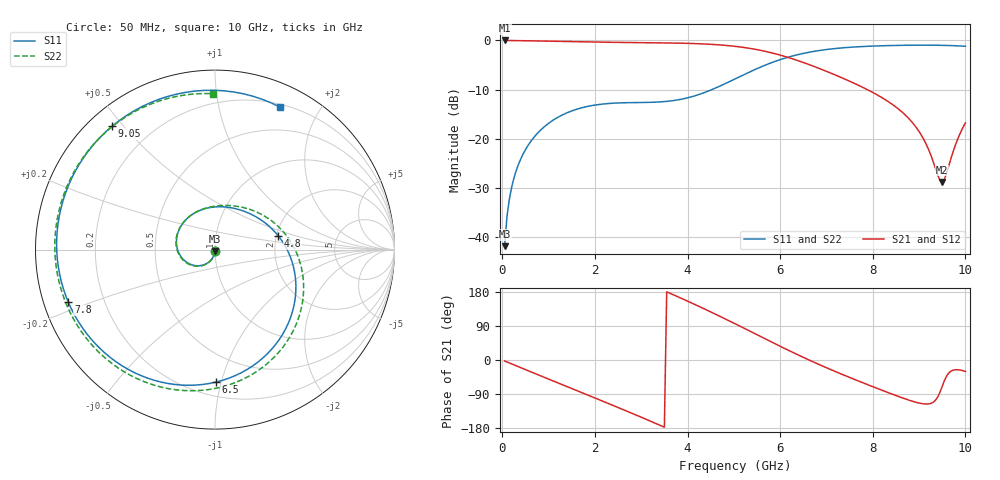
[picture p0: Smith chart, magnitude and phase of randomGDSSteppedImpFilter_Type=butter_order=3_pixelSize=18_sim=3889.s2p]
! freq	dB(S11)	phase(S11)	dB(S12)	phase(S12)
!  dB(S21)	phase(S21)	dB(S22)	phase(S22)
!S-par simulation data
#  GHz  S  DB  R 50
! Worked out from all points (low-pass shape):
!   200 points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, 50 MHz to 10 GHz, reference 50 ohm
!   highest |S21| = -0.01 dB at 50 MHz (marker M1); lowest = -28.8 dB at 9.5 GHz (marker M2)
!   |S21| within 3 dB of the highest: start of sweep to 6.01 GHz
!   lowest |S11| = -41.8 dB at 50 MHz (marker M3), VSWR 1.02, Z = 50 - j0.81 ohm
!   |S11| at or under -10 dB: start of sweep to 4.525 GHz
!   |S22| runs from -41.8 to -0.9 dB; largest |S21 - S12| = 0
!   S11 on the Smith chart (normalised r, x): 50 MHz: 1.00, -0.02; 4.8 GHz: 2.05, +0.36; 6.5 GHz: 0.30, -0.96; 7.8 GHz: 0.07, -0.17; 9.05 GHz: 0.07, +0.47; 10 GHz: 0.23, +1.53
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0.05  -41.82 -91.2  -0.01 -2.6  -0.01 -2.6  -41.82 -91.2
0.1  -35.89 -94.4  -0.01 -5.1  -0.01 -5.1  -35.89 -94.3
0.2  -29.94 -100.2  -0.02 -10.2  -0.02 -10.2  -29.94 -99.9
0.5  -22.21 -116.2  -0.06 -25.3  -0.06 -25.3  -22.21 -115.4
1.15  -15.90 -149.6  -0.18 -57.9  -0.18 -57.9  -15.90 -147.6
1.75  -13.61 179.7  -0.30 -87.8  -0.30 -87.8  -13.61 -176.9
2.5  -12.71 140.9  -0.39 -125.3  -0.39 -125.3  -12.71 146.6
2.95  -12.63 116.8  -0.43 -148.4  -0.43 -148.4  -12.63 124.5
3.4  -12.50 92.1  -0.48 -172.0  -0.48 -172.0  -12.51 101.8
4.05  -11.55 55.4  -0.61 152.6  -0.61 152.6  -11.56 67.4
4.8  -8.84 12.1  -0.99 109.3  -0.99 109.3  -8.84 24.5
5.05  -7.71 -2.7  -1.22 94.3  -1.22 94.3  -7.71 9.4
5.4  -6.15 -23.8  -1.70 72.9  -1.70 72.9  -6.14 -12.1
5.8  -4.57 -48.1  -2.48 48.4  -2.48 48.4  -4.56 -36.7
6.5  -2.64 -89.6  -4.48 6.9  -4.48 6.9  -2.61 -78.2
6.7  -2.27 -101.0  -5.17 -4.3  -5.17 -4.3  -2.25 -89.4
7.2  -1.63 -128.4  -7.06 -30.9  -7.06 -30.9  -1.61 -116.1
7.8  -1.23 -160.3  -9.61 -60.8  -9.61 -60.8  -1.20 -146.2
8.35  -1.05 170.3  -12.53 -86.9  -12.53 -86.9  -1.01 -173.5
9.05  -0.96 129.7  -19.27 -114.9  -19.27 -114.9  -0.95 149.7
9.5  -1.00 100.7  -28.78 -69.2  -28.78 -69.2  -1.00 123.4
10  -1.18 65.3  -16.76 -30.2  -16.76 -30.2  -1.22 90.6
